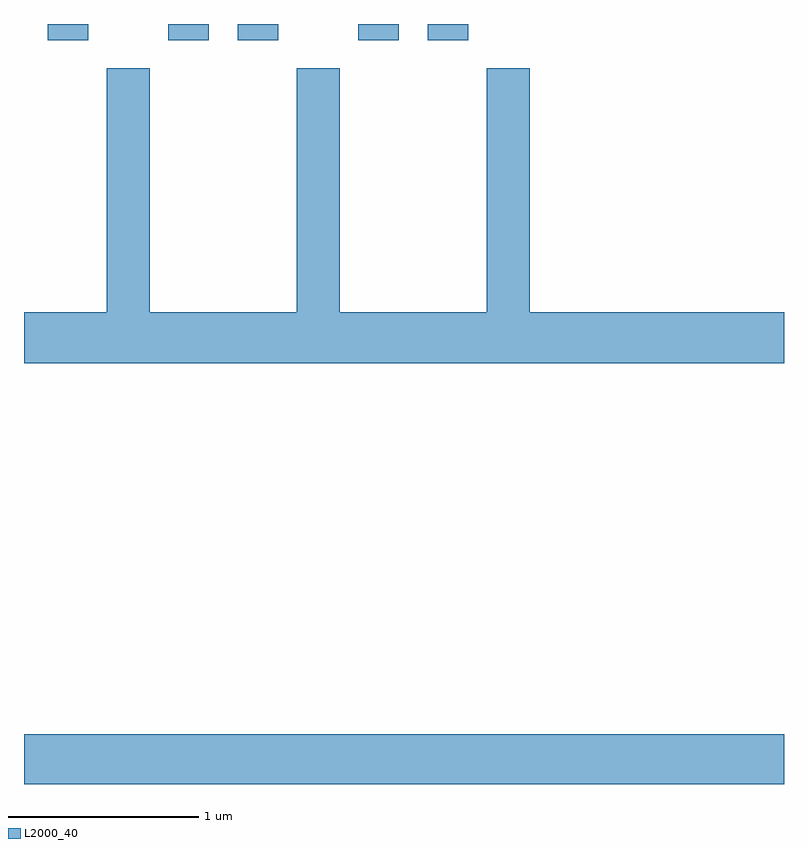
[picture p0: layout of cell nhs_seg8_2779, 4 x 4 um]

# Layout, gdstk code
import gdstk
lib = gdstk.Library(unit=1e-6, precision=1e-09)
def R(c, l, rs):  # rectangles x0, y0, x1, y1
    for r in rs: c.add(gdstk.rectangle(r[:2], r[2:], *l))
def P(c, l, *ps):  # polygons
    for p in ps: c.add(gdstk.Polygon(p, *l))
L2000_40 = (2000, 40)

nhs_seg8_2779 = lib.new_cell('nhs_seg8_2779')
R(nhs_seg8_2779, L2000_40, [(267.611,1916.342,271.611,1916.604), (267.736,1920.256,267.949,1920.342), (268.371,1920.256,268.584,1920.342), (268.736,1920.256,268.949,1920.342), (269.371,1920.256,269.584,1920.342), (269.736,1920.256,269.949,1920.342)])
P(nhs_seg8_2779, L2000_40, [(271.611,1918.824),(270.274,1918.824),(270.274,1920.109),(270.046,1920.109),(270.046,1918.824),(269.274,1918.824),(269.274,1920.109),(269.046,1920.109),(269.046,1918.824),(268.274,1918.824),(268.274,1920.109),(268.046,1920.109),(268.046,1918.824),(267.611,1918.824),(267.611,1918.556),(271.611,1918.556)])

lib.write_gds('nhs_seg8_2779.gds')
